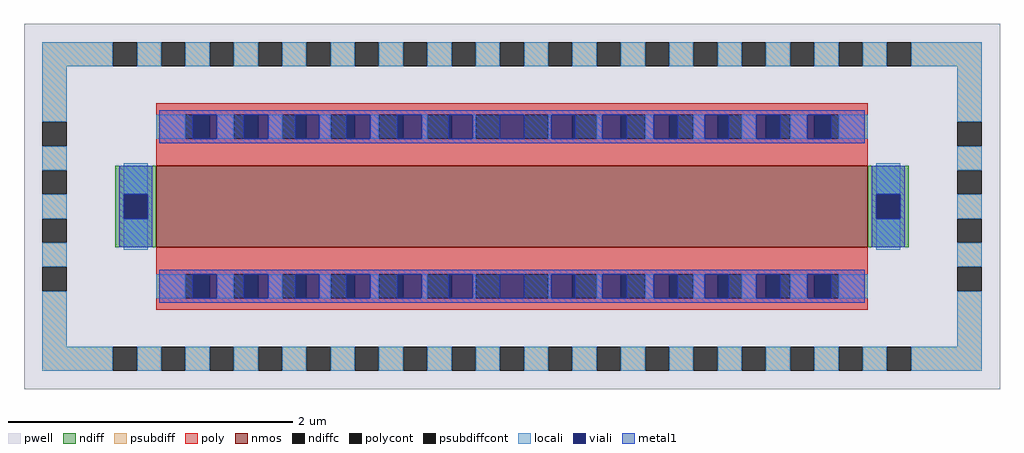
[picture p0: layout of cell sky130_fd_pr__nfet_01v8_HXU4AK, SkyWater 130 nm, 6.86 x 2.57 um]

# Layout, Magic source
magic
tech sky130A
magscale 1 2
<< pwell >>
rect -686 -257 686 257
<< nmos >>
rect -500 -57 500 57
<< ndiff >>
rect -558 17 -500 57
rect -558 -17 -546 17
rect -512 -17 -500 17
rect -558 -57 -500 -17
rect 500 17 558 57
rect 500 -17 512 17
rect 546 -17 558 17
rect 500 -57 558 -17
<< ndiffc >>
rect -546 -17 -512 17
rect 512 -17 546 17
<< psubdiff >>
rect -660 197 -561 231
rect -527 197 -493 231
rect -459 197 -425 231
rect -391 197 -357 231
rect -323 197 -289 231
rect -255 197 -221 231
rect -187 197 -153 231
rect -119 197 -85 231
rect -51 197 -17 231
rect 17 197 51 231
rect 85 197 119 231
rect 153 197 187 231
rect 221 197 255 231
rect 289 197 323 231
rect 357 197 391 231
rect 425 197 459 231
rect 493 197 527 231
rect 561 197 660 231
rect -660 119 -626 197
rect -660 51 -626 85
rect 626 119 660 197
rect -660 -17 -626 17
rect -660 -85 -626 -51
rect 626 51 660 85
rect 626 -17 660 17
rect -660 -197 -626 -119
rect 626 -85 660 -51
rect 626 -197 660 -119
rect -660 -231 -561 -197
rect -527 -231 -493 -197
rect -459 -231 -425 -197
rect -391 -231 -357 -197
rect -323 -231 -289 -197
rect -255 -231 -221 -197
rect -187 -231 -153 -197
rect -119 -231 -85 -197
rect -51 -231 -17 -197
rect 17 -231 51 -197
rect 85 -231 119 -197
rect 153 -231 187 -197
rect 221 -231 255 -197
rect 289 -231 323 -197
rect 357 -231 391 -197
rect 425 -231 459 -197
rect 493 -231 527 -197
rect 561 -231 660 -197
<< psubdiffcont >>
rect -561 197 -527 231
rect -493 197 -459 231
rect -425 197 -391 231
rect -357 197 -323 231
rect -289 197 -255 231
rect -221 197 -187 231
rect -153 197 -119 231
rect -85 197 -51 231
rect -17 197 17 231
rect 51 197 85 231
rect 119 197 153 231
rect 187 197 221 231
rect 255 197 289 231
rect 323 197 357 231
rect 391 197 425 231
rect 459 197 493 231
rect 527 197 561 231
rect -660 85 -626 119
rect 626 85 660 119
rect -660 17 -626 51
rect -660 -51 -626 -17
rect 626 17 660 51
rect 626 -51 660 -17
rect -660 -119 -626 -85
rect 626 -119 660 -85
rect -561 -231 -527 -197
rect -493 -231 -459 -197
rect -425 -231 -391 -197
rect -357 -231 -323 -197
rect -289 -231 -255 -197
rect -221 -231 -187 -197
rect -153 -231 -119 -197
rect -85 -231 -51 -197
rect -17 -231 17 -197
rect 51 -231 85 -197
rect 119 -231 153 -197
rect 187 -231 221 -197
rect 255 -231 289 -197
rect 323 -231 357 -197
rect 391 -231 425 -197
rect 459 -231 493 -197
rect 527 -231 561 -197
<< poly >>
rect -500 129 500 145
rect -500 95 -459 129
rect -425 95 -391 129
rect -357 95 -323 129
rect -289 95 -255 129
rect -221 95 -187 129
rect -153 95 -119 129
rect -85 95 -51 129
rect -17 95 17 129
rect 51 95 85 129
rect 119 95 153 129
rect 187 95 221 129
rect 255 95 289 129
rect 323 95 357 129
rect 391 95 425 129
rect 459 95 500 129
rect -500 57 500 95
rect -500 -95 500 -57
rect -500 -129 -459 -95
rect -425 -129 -391 -95
rect -357 -129 -323 -95
rect -289 -129 -255 -95
rect -221 -129 -187 -95
rect -153 -129 -119 -95
rect -85 -129 -51 -95
rect -17 -129 17 -95
rect 51 -129 85 -95
rect 119 -129 153 -95
rect 187 -129 221 -95
rect 255 -129 289 -95
rect 323 -129 357 -95
rect 391 -129 425 -95
rect 459 -129 500 -95
rect -500 -145 500 -129
<< polycont >>
rect -459 95 -425 129
rect -391 95 -357 129
rect -323 95 -289 129
rect -255 95 -221 129
rect -187 95 -153 129
rect -119 95 -85 129
rect -51 95 -17 129
rect 17 95 51 129
rect 85 95 119 129
rect 153 95 187 129
rect 221 95 255 129
rect 289 95 323 129
rect 357 95 391 129
rect 425 95 459 129
rect -459 -129 -425 -95
rect -391 -129 -357 -95
rect -323 -129 -289 -95
rect -255 -129 -221 -95
rect -187 -129 -153 -95
rect -119 -129 -85 -95
rect -51 -129 -17 -95
rect 17 -129 51 -95
rect 85 -129 119 -95
rect 153 -129 187 -95
rect 221 -129 255 -95
rect 289 -129 323 -95
rect 357 -129 391 -95
rect 425 -129 459 -95
<< locali >>
rect -660 197 -561 231
rect -527 197 -493 231
rect -459 197 -425 231
rect -391 197 -357 231
rect -323 197 -289 231
rect -255 197 -221 231
rect -187 197 -153 231
rect -119 197 -85 231
rect -51 197 -17 231
rect 17 197 51 231
rect 85 197 119 231
rect 153 197 187 231
rect 221 197 255 231
rect 289 197 323 231
rect 357 197 391 231
rect 425 197 459 231
rect 493 197 527 231
rect 561 197 660 231
rect -660 119 -626 197
rect -500 95 -459 129
rect -415 95 -391 129
rect -343 95 -323 129
rect -271 95 -255 129
rect -199 95 -187 129
rect -127 95 -119 129
rect -55 95 -51 129
rect 51 95 55 129
rect 119 95 127 129
rect 187 95 199 129
rect 255 95 271 129
rect 323 95 343 129
rect 391 95 415 129
rect 459 95 500 129
rect 626 119 660 197
rect -660 51 -626 85
rect -660 -17 -626 17
rect -660 -85 -626 -51
rect -546 17 -512 61
rect -546 -61 -512 -17
rect 512 17 546 61
rect 512 -61 546 -17
rect 626 51 660 85
rect 626 -17 660 17
rect 626 -85 660 -51
rect -660 -197 -626 -119
rect -500 -129 -459 -95
rect -415 -129 -391 -95
rect -343 -129 -323 -95
rect -271 -129 -255 -95
rect -199 -129 -187 -95
rect -127 -129 -119 -95
rect -55 -129 -51 -95
rect 51 -129 55 -95
rect 119 -129 127 -95
rect 187 -129 199 -95
rect 255 -129 271 -95
rect 323 -129 343 -95
rect 391 -129 415 -95
rect 459 -129 500 -95
rect 626 -197 660 -119
rect -660 -231 -561 -197
rect -527 -231 -493 -197
rect -459 -231 -425 -197
rect -391 -231 -357 -197
rect -323 -231 -289 -197
rect -255 -231 -221 -197
rect -187 -231 -153 -197
rect -119 -231 -85 -197
rect -51 -231 -17 -197
rect 17 -231 51 -197
rect 85 -231 119 -197
rect 153 -231 187 -197
rect 221 -231 255 -197
rect 289 -231 323 -197
rect 357 -231 391 -197
rect 425 -231 459 -197
rect 493 -231 527 -197
rect 561 -231 660 -197
<< viali >>
rect -449 95 -425 129
rect -425 95 -415 129
rect -377 95 -357 129
rect -357 95 -343 129
rect -305 95 -289 129
rect -289 95 -271 129
rect -233 95 -221 129
rect -221 95 -199 129
rect -161 95 -153 129
rect -153 95 -127 129
rect -89 95 -85 129
rect -85 95 -55 129
rect -17 95 17 129
rect 55 95 85 129
rect 85 95 89 129
rect 127 95 153 129
rect 153 95 161 129
rect 199 95 221 129
rect 221 95 233 129
rect 271 95 289 129
rect 289 95 305 129
rect 343 95 357 129
rect 357 95 377 129
rect 415 95 425 129
rect 425 95 449 129
rect -546 -17 -512 17
rect 512 -17 546 17
rect -449 -129 -425 -95
rect -425 -129 -415 -95
rect -377 -129 -357 -95
rect -357 -129 -343 -95
rect -305 -129 -289 -95
rect -289 -129 -271 -95
rect -233 -129 -221 -95
rect -221 -129 -199 -95
rect -161 -129 -153 -95
rect -153 -129 -127 -95
rect -89 -129 -85 -95
rect -85 -129 -55 -95
rect -17 -129 17 -95
rect 55 -129 85 -95
rect 85 -129 89 -95
rect 127 -129 153 -95
rect 153 -129 161 -95
rect 199 -129 221 -95
rect 221 -129 233 -95
rect 271 -129 289 -95
rect 289 -129 305 -95
rect 343 -129 357 -95
rect 357 -129 377 -95
rect 415 -129 425 -95
rect 425 -129 449 -95
<< metal1 >>
rect -496 129 496 135
rect -496 95 -449 129
rect -415 95 -377 129
rect -343 95 -305 129
rect -271 95 -233 129
rect -199 95 -161 129
rect -127 95 -89 129
rect -55 95 -17 129
rect 17 95 55 129
rect 89 95 127 129
rect 161 95 199 129
rect 233 95 271 129
rect 305 95 343 129
rect 377 95 415 129
rect 449 95 496 129
rect -496 89 496 95
rect -552 17 -506 57
rect -552 -17 -546 17
rect -512 -17 -506 17
rect -552 -57 -506 -17
rect 506 17 552 57
rect 506 -17 512 17
rect 546 -17 552 17
rect 506 -57 552 -17
rect -496 -95 496 -89
rect -496 -129 -449 -95
rect -415 -129 -377 -95
rect -343 -129 -305 -95
rect -271 -129 -233 -95
rect -199 -129 -161 -95
rect -127 -129 -89 -95
rect -55 -129 -17 -95
rect 17 -129 55 -95
rect 89 -129 127 -95
rect 161 -129 199 -95
rect 233 -129 271 -95
rect 305 -129 343 -95
rect 377 -129 415 -95
rect 449 -129 496 -95
rect -496 -135 496 -129
<< properties >>
string FIXED_BBOX -643 -214 643 214
<< end >>
